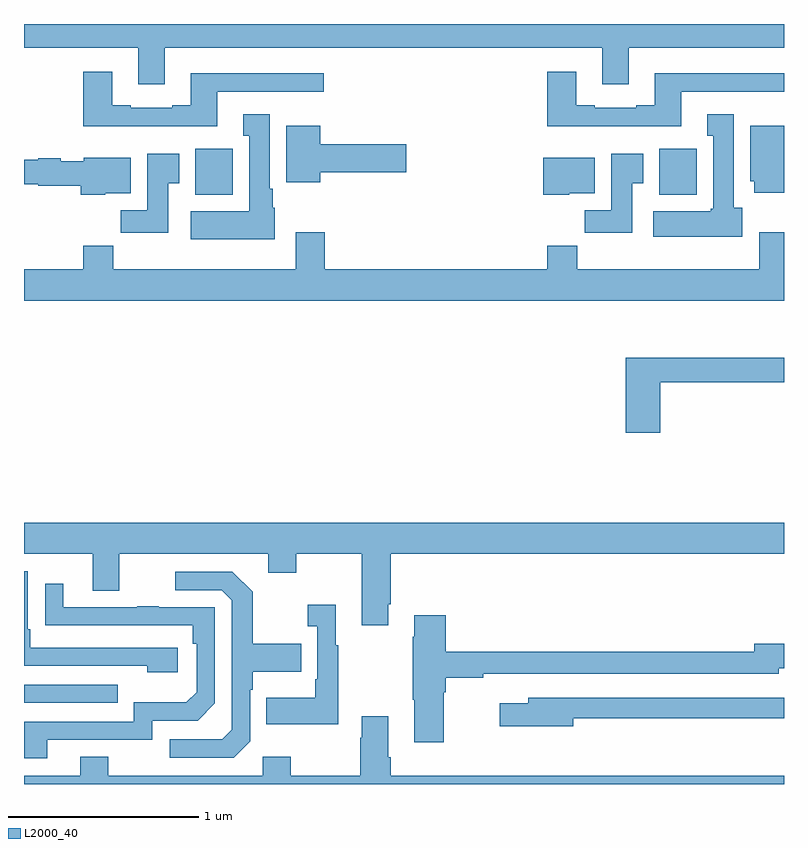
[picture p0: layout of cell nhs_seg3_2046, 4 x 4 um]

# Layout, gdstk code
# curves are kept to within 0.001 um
import gdstk
lib = gdstk.Library(unit=1e-6, precision=1e-09)
def R(c, l, rs):  # rectangles x0, y0, x1, y1
    for r in rs: c.add(gdstk.rectangle(r[:2], r[2:], *l))
def P(c, l, *ps):  # polygons
    for p in ps: c.add(gdstk.Polygon(p, *l))
L2000_40 = (2000, 40)

nhs_seg3_2046 = lib.new_cell('nhs_seg3_2046')
R(nhs_seg3_2046, L2000_40, [(217,670.827,217.493,670.923), (217.901,673.502,218.098,673.744), (220.343,673.502,220.54,673.744)])
P(nhs_seg3_2046, L2000_40, [(217.741,674.276),(220.043,674.276),(220.043,674.082),(220.183,674.082),(220.183,674.276),(221,674.276),(221,674.4),(217,674.4),(217,674.276),(217.601,674.276),(217.601,674.082),(217.741,674.082)],
  [(218.017,674.043),(218.578,674.043),(218.578,674.14),(217.877,674.14),(217.877,673.972),(217.781,673.972),(217.781,673.959),(217.561,673.959),(217.561,673.972),(217.465,673.972),(217.465,674.149),(217.313,674.149),(217.313,673.862),(218.017,673.862)],
  [(220.459,674.043),(221,674.043),(221,674.14),(220.319,674.14),(220.319,673.972),(220.223,673.972),(220.223,673.959),(220.003,673.959),(220.003,673.972),(219.907,673.972),(219.907,674.149),(219.755,674.149),(219.755,673.862),(220.459,673.862)],
  [(218.32,673.434),(218.308,673.434),(218.308,673.534),(218.293,673.534),(218.293,673.924),(218.153,673.924),(218.153,673.811),(218.186,673.811),(218.186,673.414),(217.877,673.414),(217.877,673.268),(218.32,673.268)],
  [(220.78,673.434),(220.735,673.434),(220.735,673.924),(220.595,673.924),(220.595,673.811),(220.628,673.811),(220.628,673.428),(220.615,673.428),(220.615,673.414),(220.311,673.414),(220.311,673.28),(220.78,673.28)],
  [(221,673.864),(220.823,673.864),(220.823,673.572),(220.844,673.572),(220.844,673.512),(221,673.512)],
  [(218.56,673.619),(219.013,673.619),(219.013,673.766),(218.56,673.766),(218.56,673.864),(218.381,673.864),(218.381,673.568),(218.56,673.568)],
  [(217.759,673.561),(217.816,673.561),(217.816,673.717),(217.649,673.717),(217.649,673.42),(217.51,673.42),(217.51,673.302),(217.759,673.302)],
  [(220.201,673.561),(220.258,673.561),(220.258,673.717),(220.091,673.717),(220.091,673.42),(219.952,673.42),(219.952,673.302),(220.201,673.302)],
  [(219.87,673.508),(220.003,673.508),(220.003,673.696),(219.734,673.696),(219.734,673.502),(219.87,673.502)],
  [(217.428,673.508),(217.561,673.508),(217.561,673.696),(217.314,673.696),(217.314,673.678),(217.194,673.678),(217.194,673.693),(217.074,673.693),(217.074,673.685),(217,673.685),(217,673.557),(217.074,673.557),(217.074,673.549),(217.298,673.549),(217.298,673.502),(217.428,673.502)],
  [(221,673.303),(220.871,673.303),(220.871,673.108),(219.911,673.108),(219.911,673.232),(219.755,673.232),(219.755,673.108),(218.582,673.108),(218.582,673.303),(218.429,673.303),(218.429,673.108),(217.469,673.108),(217.469,673.232),(217.313,673.232),(217.313,673.108),(217,673.108),(217,672.944),(221,672.944)],
  [(220.349,672.514),(221,672.514),(221,672.643),(220.166,672.643),(220.166,672.249),(220.349,672.249)],
  [(218.917,671.347),(218.93,671.347),(218.93,671.612),(221,671.612),(221,671.776),(217,671.776),(217,671.612),(217.361,671.612),(217.361,671.418),(217.501,671.418),(217.501,671.612),(218.285,671.612),(218.285,671.513),(218.433,671.513),(218.433,671.612),(218.777,671.612),(218.777,671.235),(218.917,671.235)],
  [(217.81,671.118),(217.033,671.118),(217.033,671.215),(217.02,671.215),(217.02,671.52),(217,671.52),(217,671.022),(217.649,671.022),(217.649,670.988),(217.81,670.988)],
  [(218.19,670.626),(218.19,670.895),(218.203,670.895),(218.203,670.991),(218.459,670.991),(218.459,671.139),(218.203,671.139),(218.203,671.411),(218.097,671.517),(217.797,671.517),(217.797,671.421),(218.04,671.421),(218.094,671.367),(218.094,670.686),(218.043,670.635),(217.767,670.635),(217.767,670.539),(218.103,670.539)],
  [(217.123,670.632),(217.674,670.632),(217.674,670.734),(217.914,670.734),(218.004,670.824),(218.004,671.331),(217.709,671.331),(217.709,671.336),(217.597,671.336),(217.597,671.331),(217.207,671.331),(217.207,671.455),(217.111,671.455),(217.111,671.236),(217.888,671.235),(217.888,671.138),(217.908,671.138),(217.908,670.884),(217.855,670.831),(217.578,670.831),(217.578,670.728),(217,670.728),(217,670.536),(217.123,670.536)],
  [(218.653,671.131),(218.641,671.131),(218.641,671.344),(218.493,671.344),(218.493,671.231),(218.544,671.231),(218.544,670.951),(218.532,670.951),(218.532,670.855),(218.275,670.855),(218.275,670.715),(218.653,670.715)],
  [(219.208,670.883),(219.221,670.883),(219.221,670.96),(219.416,670.96),(219.416,670.98),(220.972,670.98),(220.972,671.009),(221,671.009),(221,671.139),(220.844,671.139),(220.844,671.096),(219.221,671.096),(219.221,671.287),(219.053,671.287),(219.053,671.174),(219.046,671.174),(219.046,670.843),(219.053,670.843),(219.053,670.62),(219.208,670.62)],
  [(219.892,670.746),(221,670.746),(221,670.854),(219.653,670.854),(219.653,670.825),(219.504,670.825),(219.504,670.703),(219.892,670.703)],
  [(221,670.444),(218.93,670.444),(218.93,670.54),(218.917,670.54),(218.917,670.756),(218.777,670.756),(218.777,670.643),(218.77,670.643),(218.77,670.444),(218.403,670.444),(218.403,670.543),(218.256,670.543),(218.256,670.444),(217.443,670.444),(217.443,670.543),(217.295,670.543),(217.295,670.444),(217,670.444),(217,670.4),(221,670.4)])

lib.write_gds('nhs_seg3_2046.gds')
